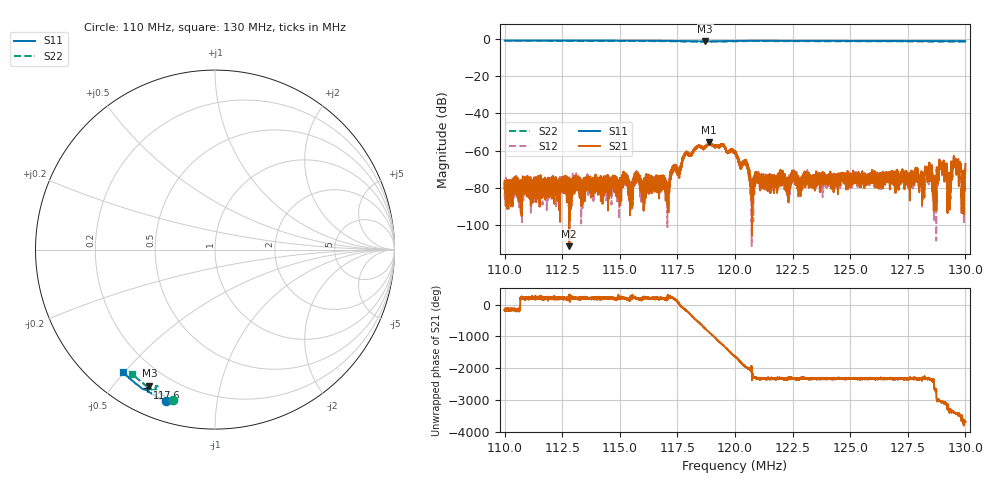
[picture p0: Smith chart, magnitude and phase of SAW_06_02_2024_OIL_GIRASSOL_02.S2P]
!Agilent Technologies,E5071C,MY46520923,B.12.03
!Date: Tue Feb 06 11:11:42 2024
!Data & Calibration Information:
!Freq	S11:SOLT2(ON)	S21:SOLT2(ON)	S12:SOLT2(ON)	S22:SOLT2(ON)
!PortZ  Port1:50+j0  Port2:50+j0
!Above PortZ is port z conversion or system Z0 setting when saving the data.
!When reading, reference impedance value at option line is always used.
# Hz S dB R 50
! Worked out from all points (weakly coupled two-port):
!   10000 points, 110 MHz to 130 MHz, reference 50 ohm
!   highest |S21| = -55.47 dB at 118.9 MHz (marker M1); lowest = -111.2 dB at 112.8 MHz (marker M2)
!   lowest |S11| = -1.5 dB at 118.7 MHz (marker M3), VSWR 11.60, Z = 5.99 - j31 ohm
!   |S11| at or under -10 dB: nowhere
!   |S22| runs from -1.7 to -1.2 dB; largest |S21 - S12| = 0.00022
!   S11 on the Smith chart (normalised r, x): 110 MHz: 0.09, -0.72; 117.6 MHz: 0.11, -0.62; 130 MHz: 0.10, -0.50
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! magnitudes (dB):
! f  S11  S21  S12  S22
! 110 MHz  -1.0  -80.2  -76.8  -1.2
! 112.8 MHz  -1.1  -111.2  -82.1  -1.3
! 113.3 MHz  -1.1  -81.7  -75.2  -1.3
! 116.7 MHz  -1.2  -75.1  -82.5  -1.4
! 117.1 MHz  -1.2  -82.8  -80.1  -1.4
! 117.3 MHz  -1.3  -69.6  -68.9  -1.5
! 117.6 MHz  -1.3  -69.7  -69.9  -1.5
! 117.9 MHz  -1.4  -61.6  -61.1  -1.6
! 118.7 MHz  -1.5  -58.0  -58.5  -1.7
! 118.9 MHz  -1.5  -55.5  -55.8  -1.7
! 120 MHz  -1.3  -60.9  -60.8  -1.4
! 120.5 MHz  -1.2  -67.0  -67.2  -1.4
! 120.8 MHz  -1.2  -80.3  -90.4  -1.3
! 123.3 MHz  -1.2  -78.5  -75.4  -1.4
! 126.7 MHz  -1.3  -74.7  -73.8  -1.5
! 128.5 MHz  -1.3  -76.5  -72.6  -1.6
! 128.7 MHz  -1.4  -79.9  -81.1  -1.6
! 129 MHz  -1.4  -67.1  -67.8  -1.6
! 129.3 MHz  -1.4  -75.1  -73.8  -1.6
! 129.6 MHz  -1.4  -64.6  -64.8  -1.6
! 129.9 MHz  -1.4  -74.1  -72.8  -1.6
! 130 MHz  -1.4  -67.2  -68.7  -1.6
